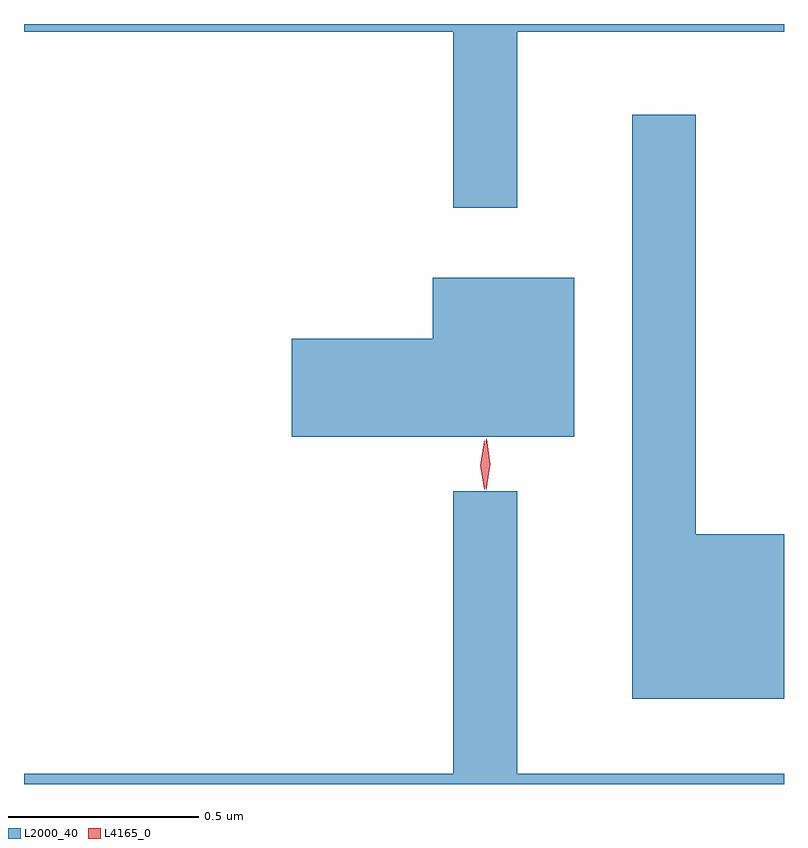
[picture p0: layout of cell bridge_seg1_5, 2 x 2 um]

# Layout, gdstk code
import gdstk
lib = gdstk.Library(unit=1e-6, precision=1e-09)
def P(c, l, *ps):  # polygons
    for p in ps: c.add(gdstk.Polygon(p, *l))
L2000_40 = (2000, 40)
L4165_0 = (4165, 0)

bridge_seg1_5 = lib.new_cell('bridge_seg1_5')
P(bridge_seg1_5, L2000_40, [(1615.969,841.856),(1616.671,841.856),(1616.671,841.877),(1614.671,841.877),(1614.671,841.856),(1615.801,841.856),(1615.801,841.393),(1615.969,841.393)],
  [(1616.671,840.534),(1616.439,840.534),(1616.439,841.638),(1616.271,841.638),(1616.271,840.101),(1616.671,840.101)],
  [(1616.119,841.209),(1615.746,841.209),(1615.746,841.049),(1615.376,841.049),(1615.376,840.791),(1616.119,840.791)],
  [(1616.671,839.904),(1615.969,839.904),(1615.969,840.648),(1615.801,840.648),(1615.801,839.904),(1614.671,839.904),(1614.671,839.877),(1616.671,839.877)])
P(bridge_seg1_5, L4165_0, [(1615.887,840.65),(1615.887,840.65),(1615.878,840.718),(1615.888,840.786),(1615.889,840.786),(1615.889,840.786),(1615.898,840.718),(1615.888,840.65)],
  [(1615.882,840.653),(1615.882,840.653),(1615.872,840.716),(1615.882,840.779),(1615.882,840.78),(1615.883,840.779),(1615.892,840.716),(1615.883,840.653)])

lib.write_gds('bridge_seg1_5.gds')
